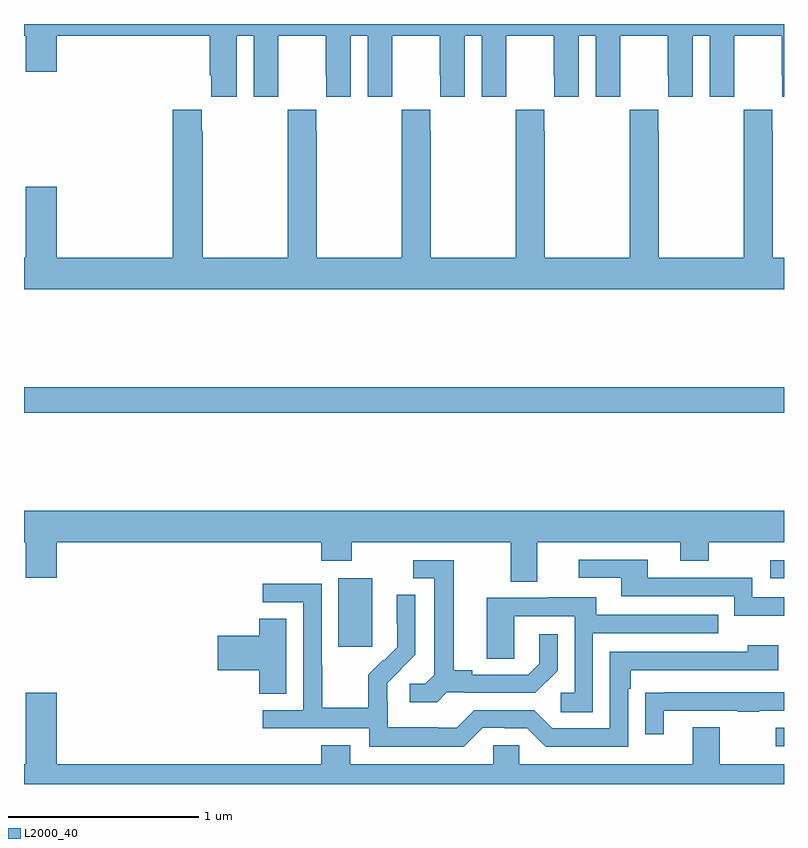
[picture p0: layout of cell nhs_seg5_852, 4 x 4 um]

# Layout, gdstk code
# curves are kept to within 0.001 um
import gdstk
lib = gdstk.Library(unit=1e-6, precision=1e-09)
def R(c, l, rs):  # rectangles x0, y0, x1, y1
    for r in rs: c.add(gdstk.rectangle(r[:2], r[2:], *l))
def P(c, l, *ps):  # polygons
    for p in ps: c.add(gdstk.Polygon(p, *l))
L2000_40 = (2000, 40)

nhs_seg5_852 = lib.new_cell('nhs_seg5_852')
R(nhs_seg5_852, L2000_40, [(168.957,876.999,169,877.095), (166.655,877.521,166.834,877.882), (168.927,877.881,169,877.977), (165,878.752,169,878.888)])
P(nhs_seg5_852, L2000_40, [(165,880.736),(165.008,880.736),(165.008,880.548),(165.172,880.548),(165.172,880.736),(165.977,880.736),(165.977,880.528),(165.986,880.528),(165.986,880.416),(166.12,880.416),(166.12,880.736),(166.208,880.736),(166.208,880.416),(166.338,880.416),(166.338,880.528),(166.339,880.528),(166.339,880.736),(166.589,880.736),(166.589,880.528),(166.59,880.528),(166.59,880.416),(166.72,880.416),(166.72,880.736),(166.808,880.736),(166.808,880.416),(166.938,880.416),(166.938,880.528),(166.939,880.528),(166.939,880.736),(167.189,880.736),(167.189,880.528),(167.19,880.528),(167.19,880.416),(167.32,880.416),(167.32,880.736),(167.408,880.736),(167.408,880.416),(167.538,880.416),(167.538,880.528),(167.539,880.528),(167.539,880.736),(167.789,880.736),(167.789,880.528),(167.79,880.528),(167.79,880.416),(167.92,880.416),(167.92,880.736),(168.008,880.736),(168.008,880.416),(168.138,880.416),(168.138,880.528),(168.139,880.528),(168.139,880.736),(168.389,880.736),(168.389,880.528),(168.39,880.528),(168.39,880.416),(168.52,880.416),(168.52,880.736),(168.608,880.736),(168.608,880.416),(168.738,880.416),(168.738,880.528),(168.739,880.528),(168.739,880.736),(168.989,880.736),(168.989,880.528),(168.99,880.528),(168.99,880.416),(169,880.416),(169,880.799),(165,880.799)],
  [(169,879.568),(168.942,879.568),(168.942,880.235),(168.939,880.235),(168.939,880.348),(168.789,880.348),(168.789,880.235),(168.787,880.235),(168.787,879.568),(168.342,879.568),(168.342,880.235),(168.339,880.235),(168.339,880.348),(168.189,880.348),(168.189,880.235),(168.187,880.235),(168.187,879.568),(167.742,879.568),(167.742,880.235),(167.739,880.235),(167.739,880.348),(167.589,880.348),(167.589,880.235),(167.587,880.235),(167.587,879.568),(167.142,879.568),(167.142,880.235),(167.139,880.235),(167.139,880.348),(166.989,880.348),(166.989,880.235),(166.987,880.235),(166.987,879.568),(166.542,879.568),(166.542,880.235),(166.539,880.235),(166.539,880.348),(166.389,880.348),(166.389,880.235),(166.387,880.235),(166.387,879.568),(165.942,879.568),(165.942,880.235),(165.935,880.235),(165.935,880.348),(165.782,880.348),(165.782,879.568),(165.172,879.568),(165.172,879.943),(165.008,879.943),(165.008,879.568),(165,879.568),(165,879.404),(169,879.404)],
  [(167.701,878.072),(168.455,878.072),(168.455,877.973),(168.603,877.973),(168.603,878.072),(169,878.072),(169,878.236),(165,878.236),(165,878.072),(165.008,878.072),(165.008,877.884),(165.172,877.884),(165.172,878.072),(166.565,878.072),(166.565,877.973),(166.725,877.973),(166.725,878.072),(167.561,878.072),(167.561,877.864),(167.701,877.864)],
  [(169,877.782),(168.834,877.782),(168.834,877.884),(168.283,877.884),(168.283,877.98),(167.919,877.98),(167.919,877.884),(168.143,877.884),(168.143,877.788),(168.738,877.788),(168.738,877.685),(169,877.685)],
  [(167.226,877.281),(167.32,877.281),(167.32,877.278),(167.692,877.278),(167.808,877.394),(167.808,877.588),(167.711,877.588),(167.711,877.431),(167.654,877.374),(167.359,877.374),(167.359,877.397),(167.263,877.397),(167.263,877.977),(167.049,877.977),(167.049,877.881),(167.159,877.881),(167.159,877.373),(167.112,877.326),(167.031,877.326),(167.031,877.229),(167.174,877.229)],
  [(167.415,877.095),(167.531,877.095),(167.531,877.092),(167.649,877.092),(167.745,876.996),(168.18,876.996),(168.18,877.301),(168.193,877.301),(168.193,877.398),(168.97,877.398),(168.97,877.528),(168.809,877.528),(168.809,877.494),(168.084,877.494),(168.084,877.092),(167.781,877.092),(167.685,877.188),(167.37,877.188),(167.277,877.095),(167.177,877.095),(167.177,877.099),(166.914,877.099),(166.914,877.233),(166.912,877.233),(166.912,877.33),(167.058,877.478),(167.058,877.796),(166.962,877.796),(166.962,877.642),(166.964,877.642),(166.964,877.52),(166.893,877.449),(166.89,877.452),(166.813,877.375),(166.813,877.201),(166.569,877.201),(166.569,877.424),(166.566,877.424),(166.566,877.854),(166.257,877.854),(166.257,877.755),(166.47,877.755),(166.47,877.188),(166.257,877.188),(166.257,877.092),(166.818,877.092),(166.818,876.995),(167.315,876.995)],
  [(167.994,877.593),(168.653,877.593),(168.653,877.689),(168.013,877.689),(168.013,877.783),(167.759,877.783),(167.759,877.779),(167.435,877.779),(167.435,877.459),(167.58,877.459),(167.58,877.683),(167.898,877.683),(167.898,877.278),(167.826,877.278),(167.826,877.177),(167.994,877.177)],
  [(166.381,877.67),(166.238,877.67),(166.238,877.58),(166.02,877.58),(166.02,877.397),(166.238,877.397),(166.238,877.273),(166.381,877.273)],
  [(168.367,877.185),(168.757,877.185),(168.757,877.18),(168.869,877.18),(168.869,877.185),(169,877.185),(169,877.281),(168.373,877.281),(168.373,877.28),(168.271,877.28),(168.271,877.062),(168.367,877.062)],
  [(169,876.904),(168.661,876.904),(168.661,877.099),(168.521,877.099),(168.521,876.904),(167.607,876.904),(167.607,877.002),(167.469,877.002),(167.469,876.904),(166.717,876.904),(166.717,877.003),(166.565,877.003),(166.565,876.904),(165.172,876.904),(165.172,877.279),(165.008,877.279),(165.008,876.904),(165,876.904),(165,876.799),(169,876.799)])

lib.write_gds('nhs_seg5_852.gds')
